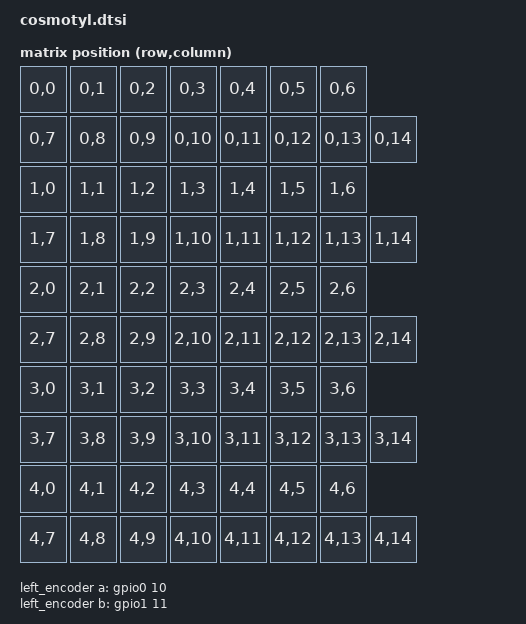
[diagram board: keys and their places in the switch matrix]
#include <dt-bindings/zmk/matrix_transform.h>
#include <zephyr/dt-bindings/gpio/gpio.h>

/ {
    chosen {
        zmk,physical-layout = &physical_layout0;
    };

    /*
     * Combined logical matrix:
     *
     * LEFT  = columns 0..6
     * RIGHT = columns 7..14
     *
     * Each physical half has 5 rows.
     */
    default_transform: keymap_transform0 {
        compatible = "zmk,matrix-transform";
        rows = <5>;
        columns = <15>;

        map = <
            RC(0,0) RC(0,1) RC(0,2) RC(0,3) RC(0,4) RC(0,5) RC(0,6)
            RC(0,7) RC(0,8) RC(0,9) RC(0,10) RC(0,11) RC(0,12) RC(0,13) RC(0,14)

            RC(1,0) RC(1,1) RC(1,2) RC(1,3) RC(1,4) RC(1,5) RC(1,6)
            RC(1,7) RC(1,8) RC(1,9) RC(1,10) RC(1,11) RC(1,12) RC(1,13) RC(1,14)

            RC(2,0) RC(2,1) RC(2,2) RC(2,3) RC(2,4) RC(2,5) RC(2,6)
            RC(2,7) RC(2,8) RC(2,9) RC(2,10) RC(2,11) RC(2,12) RC(2,13) RC(2,14)

            RC(3,0) RC(3,1) RC(3,2) RC(3,3) RC(3,4) RC(3,5) RC(3,6)
            RC(3,7) RC(3,8) RC(3,9) RC(3,10) RC(3,11) RC(3,12) RC(3,13) RC(3,14)

            RC(4,0) RC(4,1) RC(4,2) RC(4,3) RC(4,4) RC(4,5) RC(4,6)
            RC(4,7) RC(4,8) RC(4,9) RC(4,10) RC(4,11) RC(4,12) RC(4,13) RC(4,14)
        >;
    };

    physical_layout0: physical_layout_0 {
        compatible = "zmk,physical-layout";
        display-name = "Cosmotyl";
        transform = <&default_transform>;
    };

    /*
     * LEFT rotary encoder.
     * Defined for all parts, enabled only on LEFT.
     */
    left_encoder: encoder_left {
        compatible = "alps,ec11";
        a-gpios = <&gpio0 10 (GPIO_ACTIVE_HIGH | GPIO_PULL_UP)>;
        b-gpios = <&gpio1 11 (GPIO_ACTIVE_HIGH | GPIO_PULL_UP)>;
        steps = <96>;
        status = "disabled";
    };

    sensors: sensors {
        compatible = "zmk,keymap-sensors";
        sensors = <&left_encoder>;
        triggers-per-rotation = <24>;
    };
};
